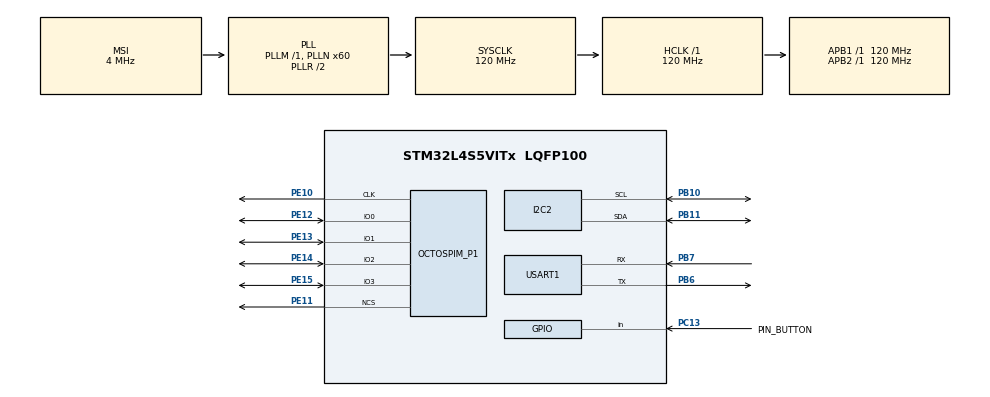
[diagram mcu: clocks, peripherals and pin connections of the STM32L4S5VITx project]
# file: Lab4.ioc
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FREERTOS.Tasks01=button_control,0,128,buttonControl,Default,NULL,Dynamic,NULL,NULL;transmit_data,-3,128,transmitData,Default,NULL,Dynamic,NULL,NULL;read_data,-3,128,readData,Default,NULL,Dynamic,NULL,NULL
I2C2.Timing=0x307075B1
Mcu.Family=STM32L4
Mcu.Name=STM32L4S5VITx
Mcu.Package=LQFP100
NVIC.PriorityGroup=NVIC_PRIORITYGROUP_4
NVIC.TIM6_DAC_IRQn=true\:15\:0\:false\:false\:true\:false\:false\:true\:true
NVIC.TimeBase=TIM6_DAC_IRQn
NVIC.TimeBaseIP=TIM6
PB10.Mode=I2C
PB10.Signal=I2C2_SCL
PB11.Mode=I2C
PB11.Signal=I2C2_SDA
PB3\ (JTDO/TRACESWO).Signal=SYS_JTDO-SWO
PB6.Mode=Asynchronous
PB6.Signal=USART1_TX
PB7.Mode=Asynchronous
PB7.Signal=USART1_RX
PC13.GPIO_Label=PIN_BUTTON
PC13.Signal=GPIO_Input
PE10.Mode=O1_P1_CLK
PE10.Signal=OCTOSPIM_P1_CLK
PE11.Mode=OCTOSPI1_Port1_NCS
PE11.Signal=OCTOSPIM_P1_NCS
PE12.Mode=OCTOSPI1_IOL_Port1L
PE12.Signal=OCTOSPIM_P1_IO0
PE13.Mode=OCTOSPI1_IOL_Port1L
PE13.Signal=OCTOSPIM_P1_IO1
PE14.Mode=OCTOSPI1_IOL_Port1L
PE14.Signal=OCTOSPIM_P1_IO2
PE15.Mode=OCTOSPI1_IOL_Port1L
PE15.Signal=OCTOSPIM_P1_IO3
ProjectManager.HeapSize=0x200
ProjectManager.StackSize=0x400
ProjectManager.TargetToolchain=STM32CubeIDE
RCC.ADCFreq_Value=48000000
RCC.AHBFreq_Value=120000000
RCC.APB1Freq_Value=120000000
RCC.APB1TimFreq_Value=120000000
RCC.APB2Freq_Value=120000000
RCC.APB2TimFreq_Value=120000000
RCC.CortexFreq_Value=120000000
RCC.HCLKFreq_Value=120000000
RCC.HSE_VALUE=8000000
RCC.HSI48_VALUE=48000000
RCC.HSI_VALUE=16000000
RCC.LSE_VALUE=32768
RCC.MSI_VALUE=4000000
RCC.PLLN=60
RCC.PLLSAI1N=24
RCC.SYSCLKFreq_VALUE=120000000
RCC.SYSCLKSource=RCC_SYSCLKSOURCE_PLLCLK
RCC.USBFreq_Value=48000000
RCC.VCOOutputFreq_Value=240000000
USART1.VirtualMode-Asynchronous=VM_ASYNC
VP_FREERTOS_VS_CMSIS_V1.Mode=CMSIS_V1
VP_OCTOSPI1_VS_quad.Mode=quad_mode
VP_SYS_VS_tim6.Mode=TIM6
board=B-L4S5I-IOT01A

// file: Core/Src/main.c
/* USER CODE BEGIN Header */
/**
 ******************************************************************************
 * @file           : main.c
 * @brief          : Main program body
 ******************************************************************************
 * @attention
 *
 * Copyright (c) 2023 STMicroelectronics.
 * All rights reserved.
 *
 * This software is licensed under terms that can be found in the LICENSE file
 * in the root directory of this software component.
 * If no LICENSE file comes with this software, it is provided AS-IS.
 *
 ******************************************************************************
 */
/* USER CODE END Header */
#include "main.h"
#include "cmsis_os.h"

/* USER CODE BEGIN Includes */
#include "stm32l4s5i_iot01_tsensor.h"
#include "stm32l4s5i_iot01_hsensor.h"
#include "stm32l4s5i_iot01_psensor.h"
#include "stm32l4s5i_iot01_accelero.h"
#include "stm32l4s5i_iot01_gyro.h"
#include "stm32l4s5i_iot01_magneto.h"
#include "stm32l4s5i_iot01_qspi.h"

#include "string.h"
#include "stdio.h"

/* USER CODE END Includes */

/* USER CODE BEGIN PD */
#define ITM_Port32(n) (*((volatile unsigned long *) (0xE0000000+4*n)))
/* USER CODE END PD */

I2C_HandleTypeDef hi2c2;

OSPI_HandleTypeDef hospi1;

UART_HandleTypeDef huart1;

osThreadId button_controlHandle;
osThreadId transmit_dataHandle;
osThreadId read_dataHandle;

void SystemClock_Config(void);
static void MX_GPIO_Init(void);
static void MX_USART1_UART_Init(void);
static void MX_I2C2_Init(void);
static void MX_OCTOSPI1_Init(void);
void buttonControl(void const *argument);
void transmitData(void const *argument);
void readData(void const *argument);

/* USER CODE BEGIN PFP */
osMutexId mutex;

/* USER CODE END PFP */

/* USER CODE BEGIN 0 */

int shouldPrint = 0;
int selectedSensor = 0;
int iterT = 0;
int iterH = 0;
int iterP = 0;
int iterA = 0;
int iterG = 0;
int iterM = 0;
float data_to_write[10] = { 0, 0, 0, 0, 0, 0, 0, 0, 0, 0 };
float data_to_writeA[10] = { 0, 0, 0, 0, 0, 0, 0, 0, 0, 0 };
float data_to_writeB[10] = { 0, 0, 0, 0, 0, 0, 0, 0, 0, 0 };
float data_to_writeC[10] = { 0, 0, 0, 0, 0, 0, 0, 0, 0, 0 };

int hold = 0;
float samplesG = 0;
float meanG = 0;
float varianceG = 0;
float samplesGA = 0;
float meanGA = 0;
float varianceGA = 0;
float samplesGB = 0;
float meanGB = 0;
float varianceGB = 0;
float samplesGC = 0;
float meanGC = 0;
float varianceGC = 0;

/* USER CODE END 0 */

int main(void) {

	/* MCU Configuration--------------------------------------------------------*/

	/* Reset of all peripherals, Initializes the Flash interface and the Systick. */
	HAL_Init();

	/* Configure the system clock */
	SystemClock_Config();

	/* Initialize all configured peripherals */
	MX_GPIO_Init();
	MX_USART1_UART_Init();
	MX_I2C2_Init();
	MX_OCTOSPI1_Init();
	/* USER CODE BEGIN 2 */

	BSP_ACCELERO_Init();
	BSP_GYRO_Init();
	BSP_TSENSOR_Init();
	BSP_HSENSOR_Init();
	BSP_MAGNETO_Init();
	BSP_PSENSOR_Init();

	BSP_QSPI_Init();

	uint8_t buffer[100];

	if (BSP_QSPI_Erase_Block(0x20) == QSPI_OK) {
		memset(buffer, 0, sizeof(buffer));
		sprintf(buffer, "Erased memory! \r\n");
		HAL_UART_Transmit(&huart1, (uint8_t*) buffer, strlen(buffer), 300000);
	}

	/* USER CODE END 2 */

	/* USER CODE BEGIN RTOS_MUTEX */
	/* add mutexes, ... */
	osMutexDef(osMutex);
	mutex = osMutexCreate(osMutex(osMutex));

	/* USER CODE END RTOS_MUTEX */

	/* Create the thread(s) */
	/* definition and creation of button_control */
	osThreadDef(button_control, buttonControl, osPriorityHigh, 0, 128);
	button_controlHandle = osThreadCreate(osThread(button_control), NULL);

	/* definition and creation of transmit_data */
	osThreadDef(transmit_data, transmitData, osPriorityNormal, 0, 256);
	transmit_dataHandle = osThreadCreate(osThread(transmit_data), NULL);

	/* definition and creation of read_data */
	osThreadDef(read_data, readData, osPriorityNormal, 0, 256);
	read_dataHandle = osThreadCreate(osThread(read_data), NULL);

	/* Start scheduler */
	osKernelStart();

	/* We should never get here as control is now taken by the scheduler */
	/* Infinite loop */
	while (1) {

	}
}

void SystemClock_Config(void) {
	RCC_OscInitTypeDef RCC_OscInitStruct = { 0 };
	RCC_ClkInitTypeDef RCC_ClkInitStruct = { 0 };

	/** Configure the main internal regulator output voltage
	 */
	if (HAL_PWREx_ControlVoltageScaling(PWR_REGULATOR_VOLTAGE_SCALE1_BOOST)
			!= HAL_OK) {
		Error_Handler();
	}

	/** Initializes the RCC Oscillators according to the specified parameters
	 * in the RCC_OscInitTypeDef structure.
	 */
	RCC_OscInitStruct.OscillatorType = RCC_OSCILLATORTYPE_MSI;
	RCC_OscInitStruct.MSIState = RCC_MSI_ON;
	RCC_OscInitStruct.MSICalibrationValue = 0;
	RCC_OscInitStruct.MSIClockRange = RCC_MSIRANGE_6;
	RCC_OscInitStruct.PLL.PLLState = RCC_PLL_ON;
	RCC_OscInitStruct.PLL.PLLSource = RCC_PLLSOURCE_MSI;
	RCC_OscInitStruct.PLL.PLLM = 1;
	RCC_OscInitStruct.PLL.PLLN = 60;
	RCC_OscInitStruct.PLL.PLLP = RCC_PLLP_DIV2;
	RCC_OscInitStruct.PLL.PLLQ = RCC_PLLQ_DIV2;
	RCC_OscInitStruct.PLL.PLLR = RCC_PLLR_DIV2;
	if (HAL_RCC_OscConfig(&RCC_OscInitStruct) != HAL_OK) {
		Error_Handler();
	}

	/** Initializes the CPU, AHB and APB buses clocks
	 */
	RCC_ClkInitStruct.ClockType = RCC_CLOCKTYPE_HCLK | RCC_CLOCKTYPE_SYSCLK
			| RCC_CLOCKTYPE_PCLK1 | RCC_CLOCKTYPE_PCLK2;
	RCC_ClkInitStruct.SYSCLKSource = RCC_SYSCLKSOURCE_PLLCLK;
	RCC_ClkInitStruct.AHBCLKDivider = RCC_SYSCLK_DIV1;
	RCC_ClkInitStruct.APB1CLKDivider = RCC_HCLK_DIV1;
	RCC_ClkInitStruct.APB2CLKDivider = RCC_HCLK_DIV1;

	if (HAL_RCC_ClockConfig(&RCC_ClkInitStruct, FLASH_LATENCY_5) != HAL_OK) {
		Error_Handler();
	}
}

static void MX_I2C2_Init(void) {

	hi2c2.Instance = I2C2;
	hi2c2.Init.Timing = 0x307075B1;
	hi2c2.Init.OwnAddress1 = 0;
	hi2c2.Init.AddressingMode = I2C_ADDRESSINGMODE_7BIT;
	hi2c2.Init.DualAddressMode = I2C_DUALADDRESS_DISABLE;
	hi2c2.Init.OwnAddress2 = 0;
	hi2c2.Init.OwnAddress2Masks = I2C_OA2_NOMASK;
	hi2c2.Init.GeneralCallMode = I2C_GENERALCALL_DISABLE;
	hi2c2.Init.NoStretchMode = I2C_NOSTRETCH_DISABLE;
	if (HAL_I2C_Init(&hi2c2) != HAL_OK) {
		Error_Handler();
	}

	/** Configure Analogue filter
	 */
	if (HAL_I2CEx_ConfigAnalogFilter(&hi2c2, I2C_ANALOGFILTER_ENABLE)
			!= HAL_OK) {
		Error_Handler();
	}

	/** Configure Digital filter
	 */
	if (HAL_I2CEx_ConfigDigitalFilter(&hi2c2, 0) != HAL_OK) {
		Error_Handler();
	}

}

static void MX_OCTOSPI1_Init(void) {

	OSPIM_CfgTypeDef OSPIM_Cfg_Struct = { 0 };

	/* OCTOSPI1 parameter configuration*/
	hospi1.Instance = OCTOSPI1;
	hospi1.Init.FifoThreshold = 1;
	hospi1.Init.DualQuad = HAL_OSPI_DUALQUAD_DISABLE;
	hospi1.Init.MemoryType = HAL_OSPI_MEMTYPE_MICRON;
	hospi1.Init.DeviceSize = 32;
	hospi1.Init.ChipSelectHighTime = 1;
	hospi1.Init.FreeRunningClock = HAL_OSPI_FREERUNCLK_DISABLE;
	hospi1.Init.ClockMode = HAL_OSPI_CLOCK_MODE_0;
	hospi1.Init.ClockPrescaler = 1;
	hospi1.Init.SampleShifting = HAL_OSPI_SAMPLE_SHIFTING_NONE;
	hospi1.Init.DelayHoldQuarterCycle = HAL_OSPI_DHQC_DISABLE;
	hospi1.Init.ChipSelectBoundary = 0;
	hospi1.Init.DelayBlockBypass = HAL_OSPI_DELAY_BLOCK_BYPASSED;
	if (HAL_OSPI_Init(&hospi1) != HAL_OK) {
		Error_Handler();
	}
	OSPIM_Cfg_Struct.ClkPort = 1;
	OSPIM_Cfg_Struct.NCSPort = 1;
	OSPIM_Cfg_Struct.IOLowPort = HAL_OSPIM_IOPORT_1_LOW;
	if (HAL_OSPIM_Config(&hospi1, &OSPIM_Cfg_Struct,
	HAL_OSPI_TIMEOUT_DEFAULT_VALUE) != HAL_OK) {
		Error_Handler();
	}

}

static void MX_USART1_UART_Init(void) {

	huart1.Instance = USART1;
	huart1.Init.BaudRate = 115200;
	huart1.Init.WordLength = UART_WORDLENGTH_8B;
	huart1.Init.StopBits = UART_STOPBITS_1;
	huart1.Init.Parity = UART_PARITY_NONE;
	huart1.Init.Mode = UART_MODE_TX_RX;
	huart1.Init.HwFlowCtl = UART_HWCONTROL_NONE;
	huart1.Init.OverSampling = UART_OVERSAMPLING_16;
	huart1.Init.OneBitSampling = UART_ONE_BIT_SAMPLE_DISABLE;
	huart1.Init.ClockPrescaler = UART_PRESCALER_DIV1;
	huart1.AdvancedInit.AdvFeatureInit = UART_ADVFEATURE_NO_INIT;
	if (HAL_UART_Init(&huart1) != HAL_OK) {
		Error_Handler();
	}
	if (HAL_UARTEx_SetTxFifoThreshold(&huart1, UART_TXFIFO_THRESHOLD_1_8)
			!= HAL_OK) {
		Error_Handler();
	}
	if (HAL_UARTEx_SetRxFifoThreshold(&huart1, UART_RXFIFO_THRESHOLD_1_8)
			!= HAL_OK) {
		Error_Handler();
	}
	if (HAL_UARTEx_DisableFifoMode(&huart1) != HAL_OK) {
		Error_Handler();
	}

}

static void MX_GPIO_Init(void) {
	GPIO_InitTypeDef GPIO_InitStruct = { 0 };

	/* GPIO Ports Clock Enable */
	__HAL_RCC_GPIOC_CLK_ENABLE();
	__HAL_RCC_GPIOE_CLK_ENABLE();
	__HAL_RCC_GPIOB_CLK_ENABLE();

	/*Configure GPIO pin : PIN_BUTTON_Pin */
	GPIO_InitStruct.Pin = PIN_BUTTON_Pin;
	GPIO_InitStruct.Mode = GPIO_MODE_INPUT;
	GPIO_InitStruct.Pull = GPIO_NOPULL;
	HAL_GPIO_Init(PIN_BUTTON_GPIO_Port, &GPIO_InitStruct);

}

/* USER CODE BEGIN 4 */

void calculate(float *data, float size) {

	samplesG = 0;
	meanG = 0;
	varianceG = 0;

	float sum = 0, mean, variance = 0;

	// Calculate sum of the samples
	for (int i = 0; i < size; ++i) {
		sum += data[i];
	}

	// Calculate mean
	mean = (float) sum / size;

	// Calculate sum of squared differences from the mean
	for (int i = 0; i < size; ++i) {
		int diff = data[i] - mean;
		variance += diff * diff;
	}

	// Finalize variance calculation
	variance /= (size - 1);

	samplesG = 10;
	meanG = mean;
	varianceG = variance;

}

void calculateMulti(float *dataA, float *dataB, float *dataC, float size) {

	samplesGA = 0;
	meanGA = 0;
	varianceGA = 0;

	samplesGB = 0;
	meanGB = 0;
	varianceGB = 0;

	samplesGC = 0;
	meanGC = 0;
	varianceGC = 0;

	float sum = 0;
	float mean, variance = 0;

	// Calculate sum of the samples
	for (int i = 0; i < size; ++i) {
		sum += dataA[i];
	}

	// Calculate mean
	mean = (float) sum / size;

	// Calculate sum of squared differences from the mean
	for (int i = 0; i < size; ++i) {
		float diff = (float) dataA[i] - mean;
		variance += diff * diff;
	}

	// Finalize variance calculation
	variance /= (size - 1);

	samplesGA = 10;
	meanGA = mean;
	varianceGA = variance;

	sum = 0;
	mean = 0;
	variance = 0;

	// Calculate sum of the samples
	for (int i = 0; i < size; ++i) {
		sum += dataB[i];
	}

	// Calculate mean
	mean = (float) sum / size;

	// Calculate sum of squared differences from the mean
	for (int i = 0; i < size; ++i) {
		float diff =(float) dataB[i] - mean;
		variance += diff * diff;
	}

	// Finalize variance calculation
	variance /= (size - 1);

	samplesGB = 10;
	meanGB = mean;
	varianceGB = variance;

	sum = 0;
	mean = 0;
	variance = 0;

	// Calculate sum of the samples
	for (int i = 0; i < size; ++i) {
		sum += dataC[i];
	}

	// Calculate mean
	mean = (float) sum / size;

	// Calculate sum of squared differences from the mean
	for (int i = 0; i < size; ++i) {
		float diff = (float) dataC[i] - mean;
		variance += diff * diff;
	}

	// Finalize variance calculation
	variance /= (size - 1);

	samplesGC = 10;
	meanGC = mean;
	varianceGC = variance;

}

/* USER CODE END 4 */

void buttonControl(void const *argument) {
	/* USER CODE BEGIN 5 */
	/* Infinite loop */
	for (;;) {
		osDelay(100);

		if (HAL_GPIO_ReadPin(PIN_BUTTON_GPIO_Port, PIN_BUTTON_Pin)
				== GPIO_PIN_RESET) {

			osMutexWait(mutex, osWaitForever);

			uint8_t buffer[100];
			memset(buffer, 0, sizeof(buffer));
			sprintf(buffer, "- Button Press \r\n");
			HAL_UART_Transmit(&huart1, buffer, strlen((char*) buffer), HAL_MAX_DELAY);

			selectedSensor = selectedSensor + 1;
			shouldPrint = 1;

			if (selectedSensor > 7) {
				selectedSensor = 0;
				shouldPrint = 0;
			}

			while (HAL_GPIO_ReadPin(PIN_BUTTON_GPIO_Port, PIN_BUTTON_Pin) == GPIO_PIN_RESET) {
				//stall
			}

			osMutexRelease(mutex);

		}

	}
	/* USER CODE END 5 */
}

void transmitData(void const *argument) {
	/* USER CODE BEGIN transmitData */
	/* Infinite loop */
	for (;;) {

		osDelay(100);

		if (shouldPrint == 1) {

			osMutexWait(mutex, osWaitForever);
			float readingFloat;
			float readingsFloat[3];
			int16_t readings16t[3];
			uint8_t buffer[100];

			if (selectedSensor == 1) {

				memset(buffer, 0, sizeof(buffer));
				readingFloat = (float) BSP_TSENSOR_ReadTemp();
				sprintf(buffer, "Temperature: %f \r\n", readingFloat);
				HAL_UART_Transmit(&huart1, buffer, strlen((char*) buffer),
				HAL_MAX_DELAY);

				if (iterT < 10) {
					data_to_write[iterT] = readingFloat;
					iterT++;
				}

				else if (iterT == 10) {
					iterT++;

					if (BSP_QSPI_Write(data_to_write, 0,
							(10 * sizeof(float))) != QSPI_OK) {
						memset(buffer, 0, sizeof(buffer));
						sprintf(buffer, "Error write! \r\n");
						HAL_UART_Transmit(&huart1, buffer,
								strlen((char*) buffer), HAL_MAX_DELAY);
					} else {
						memset(buffer, 0, sizeof(buffer));
						sprintf(buffer, "Full array -> Stored to flash\r\n");
						HAL_UART_Transmit(&huart1, buffer,
								strlen((char*) buffer), HAL_MAX_DELAY);

					}

				}

			} else if (selectedSensor == 2) {
				memset(buffer, 0, sizeof(buffer));
				readingFloat = (float) BSP_HSENSOR_ReadHumidity();
				sprintf(buffer, "Humidity: %f \r\n", readingFloat);
				HAL_UART_Transmit(&huart1, (uint8_t*) buffer,
						strlen((char*) buffer), HAL_MAX_DELAY);

				if (iterH < 10) {
					data_to_write[iterH] = readingFloat;
					iterH++;
				}

				else if (iterH == 10) {
					iterH++;

					if (BSP_QSPI_Write(data_to_write, 10 * sizeof(float) * 1,
							10 * sizeof(float)) != QSPI_OK) {
						memset(buffer, 0, sizeof(buffer));
						sprintf(buffer, "Error write! \r\n");
						HAL_UART_Transmit(&huart1, buffer,
								strlen((char*) buffer), HAL_MAX_DELAY);

					} else {

						memset(buffer, 0, sizeof(buffer));
						sprintf(buffer, "Full array -> Stored to flash\r\n");
						HAL_UART_Transmit(&huart1, buffer,
								strlen((char*) buffer), HAL_MAX_DELAY);

					}

				}

			} else if (selectedSensor == 3) {
				memset(buffer, 0, sizeof(buffer));
				readingFloat = (float) BSP_PSENSOR_ReadPressure();
				sprintf(buffer, "Pressure: %f \r\n", readingFloat);
				HAL_UART_Transmit(&huart1, (uint8_t*) buffer,
						strlen((char*) buffer), HAL_MAX_DELAY);

				if (iterP < 10) {
					data_to_write[iterP] = readingFloat;
					iterP++;
				}

				else if (iterP == 10) {
					iterP++;

					if (BSP_QSPI_Write(data_to_write, 10 * sizeof(float) * 2,
							10 * sizeof(float)) != QSPI_OK) {
						memset(buffer, 0, sizeof(buffer));
						sprintf(buffer, "Error write! \r\n");
						HAL_UART_Transmit(&huart1, buffer,
								strlen((char*) buffer), HAL_MAX_DELAY);
					} else {
						memset(buffer, 0, sizeof(buffer));
						sprintf(buffer, "Full array -> Stored to flash\r\n");
						HAL_UART_Transmit(&huart1, buffer,
								strlen((char*) buffer), HAL_MAX_DELAY);

					}
				}

			} else if (selectedSensor == 4) {
				memset(buffer, 0, sizeof(buffer));
				BSP_ACCELERO_AccGetXYZ(readings16t);
				sprintf(buffer, "Acceleration: X = %d, Y = %d, Z = %d \r\n",
						readings16t[0], readings16t[1], readings16t[2]);
				HAL_UART_Transmit(&huart1, (uint8_t*) buffer,
						strlen((char*) buffer), HAL_MAX_DELAY);

				if (iterA < 10) {
					data_to_writeA[iterA] = readings16t[0];
					data_to_writeB[iterA] = readings16t[1];
					data_to_writeC[iterA] = readings16t[2];
					iterA++;
				}

				else if (iterA == 10) {
					iterA++;

					if (BSP_QSPI_Write(data_to_writeA, 10 * sizeof(float) * 3,
							10 * sizeof(float)) != QSPI_OK) {
						memset(buffer, 0, sizeof(buffer));
						sprintf(buffer, "Error write! \r\n");
						HAL_UART_Transmit(&huart1, buffer,
								strlen((char*) buffer), HAL_MAX_DELAY);
					}

					if (BSP_QSPI_Write(data_to_writeB, 10 * sizeof(float) * 4,
							10 * sizeof(float)) != QSPI_OK) {
						memset(buffer, 0, sizeof(buffer));
						sprintf(buffer, "Error write! \r\n");
						HAL_UART_Transmit(&huart1, buffer,
								strlen((char*) buffer), HAL_MAX_DELAY);
					}

					if (BSP_QSPI_Write(data_to_writeC, 10 * sizeof(float) * 5,
							10 * sizeof(float)) != QSPI_OK) {
						memset(buffer, 0, sizeof(buffer));
						sprintf(buffer, "Error write! \r\n");
						HAL_UART_Transmit(&huart1, buffer,
								strlen((char*) buffer), HAL_MAX_DELAY);
					}

					memset(buffer, 0, sizeof(buffer));
					sprintf(buffer, "Full arrays -> Stored to flash\r\n");
					HAL_UART_Transmit(&huart1, buffer, strlen((char*) buffer),
					HAL_MAX_DELAY);

				}

			} else if (selectedSensor == 5) {
				memset(buffer, 0, sizeof(buffer));
				BSP_GYRO_GetXYZ(readingsFloat);
				sprintf(buffer, "Gyroscope: X = %f, Y = %f, Z = %f \r\n",
						readingsFloat[0], readingsFloat[1], readingsFloat[2]);
				HAL_UART_Transmit(&huart1, (uint8_t*) buffer,
						strlen((char*) buffer), HAL_MAX_DELAY);

				if (iterG < 10) {
					data_to_writeA[iterG] = readingsFloat[0];
					data_to_writeB[iterG] = readingsFloat[1];
					data_to_writeC[iterG] = readingsFloat[2];
					iterG++;
				}

				else if (iterG == 10) {
					iterG++;

					if (BSP_QSPI_Write(data_to_writeA, 10 * sizeof(float) * 6,
							10 * sizeof(float)) != QSPI_OK) {
						memset(buffer, 0, sizeof(buffer));
						sprintf(buffer, "Error write! \r\n");
						HAL_UART_Transmit(&huart1, buffer,
								strlen((char*) buffer), HAL_MAX_DELAY);
					}

					if (BSP_QSPI_Write(data_to_writeB, 10 * sizeof(float) * 7,
							10 * sizeof(float)) != QSPI_OK) {
						memset(buffer, 0, sizeof(buffer));
						sprintf(buffer, "Error write! \r\n");
						HAL_UART_Transmit(&huart1, buffer,
								strlen((char*) buffer), HAL_MAX_DELAY);
					}

					if (BSP_QSPI_Write(data_to_writeC, 10 * sizeof(float) * 8,
							10 * sizeof(float)) != QSPI_OK) {
						memset(buffer, 0, sizeof(buffer));
						sprintf(buffer, "Error write! \r\n");
						HAL_UART_Transmit(&huart1, buffer,
								strlen((char*) buffer), HAL_MAX_DELAY);
					}

					memset(buffer, 0, sizeof(buffer));
					sprintf(buffer, "Full arrays -> Stored to flash\r\n");
					HAL_UART_Transmit(&huart1, buffer, strlen((char*) buffer),
					HAL_MAX_DELAY);

				}

			} else if (selectedSensor == 6) {
				memset(buffer, 0, sizeof(buffer));
				BSP_MAGNETO_GetXYZ(readings16t);
				sprintf(buffer, "Magnetometer: X = %d, Y = %d, Z = %d \r\n",
						readings16t[0], readings16t[1], readings16t[2]);
				HAL_UART_Transmit(&huart1, (uint8_t*) buffer,
						strlen((char*) buffer), HAL_MAX_DELAY);

				if (iterM < 10) {
					data_to_writeA[iterM] = readings16t[0];
					data_to_writeB[iterM] = readings16t[1];
					data_to_writeC[iterM] = readings16t[2];
					iterM++;
				}

				else if (iterM == 10) {
					iterM++;

					if (BSP_QSPI_Write(data_to_writeA, 10 * sizeof(float) * 9,
							10 * sizeof(float)) != QSPI_OK) {
						memset(buffer, 0, sizeof(buffer));
						sprintf(buffer, "Error write! \r\n");
						HAL_UART_Transmit(&huart1, buffer,
								strlen((char*) buffer), HAL_MAX_DELAY);
					}

					if (BSP_QSPI_Write(data_to_writeB, 10 * sizeof(float) * 10,
							10 * sizeof(float)) != QSPI_OK) {
						memset(buffer, 0, sizeof(buffer));
						sprintf(buffer, "Error write! \r\n");
						HAL_UART_Transmit(&huart1, buffer,
								strlen((char*) buffer), HAL_MAX_DELAY);
					}

					if (BSP_QSPI_Write(data_to_writeC, 10 * sizeof(float) * 11,
							10 * sizeof(float)) != QSPI_OK) {
						memset(buffer, 0, sizeof(buffer));
						sprintf(buffer, "Error write! \r\n");
						HAL_UART_Transmit(&huart1, buffer,
								strlen((char*) buffer), HAL_MAX_DELAY);
					}

					memset(buffer, 0, sizeof(buffer));
					sprintf(buffer, "Full arrays -> Stored to flash\r\n");
					HAL_UART_Transmit(&huart1, buffer, strlen((char*) buffer),
					HAL_MAX_DELAY);

				}
			}
			osMutexRelease(mutex);
		}
	}
	/* USER CODE END transmitData */
}

void readData(void const *argument) {
	/* USER CODE BEGIN readData */
	/* Infinite loop */
	for (;;) {
		osDelay(200);

		if (selectedSensor == 7 && hold == 0) {
			osMutexWait(mutex, osWaitForever);

			uint8_t buffer[100];

			memset(buffer, 0, sizeof(buffer));
			sprintf(buffer, " \r\n	| Statistics:  \r\n");
			HAL_UART_Transmit(&huart1, buffer, strlen((char*) buffer),
			HAL_MAX_DELAY);

			memset(data_to_write, 0, sizeof(data_to_write)); // Clear the read buffer
			if (BSP_QSPI_Read(data_to_write, 0, 10 * sizeof(float)) != QSPI_OK) {
				memset(buffer, 0, sizeof(buffer));
				sprintf(buffer, "Error read! \r\n");
				HAL_UART_Transmit(&huart1, buffer, strlen((char*) buffer),
				HAL_MAX_DELAY);
			}

			calculate(data_to_write, 10);

			memset(buffer, 0, sizeof(buffer));
			sprintf(buffer,
					"\r\n	| Stats Temperature: Num Sample: %f Mean: %f Variance %f\r\n",
					samplesG, meanG, varianceG);
			HAL_UART_Transmit(&huart1, (uint8_t*) buffer,
					strlen((char*) buffer), HAL_MAX_DELAY);

			memset(data_to_write, 0, sizeof(data_to_write));
			if (BSP_QSPI_Read(data_to_write, 10 * sizeof(float), 10 * sizeof(float)) != QSPI_OK) {
				memset(buffer, 0, sizeof(buffer));
				sprintf(buffer, "Error read! \r\n");
				HAL_UART_Transmit(&huart1, buffer, strlen((char*) buffer),
				HAL_MAX_DELAY);
			}

			calculate(data_to_write, 10);

			memset(buffer, 0, sizeof(buffer));
			sprintf(buffer,
					"	| Stats Pressure: Num Sample: %f Mean: %f Variance %f\r\n",
					samplesG, meanG, varianceG);
			HAL_UART_Transmit(&huart1, (uint8_t*) buffer,
					strlen((char*) buffer), HAL_MAX_DELAY);

			memset(data_to_write, 0, sizeof(data_to_write));
			if (BSP_QSPI_Read(data_to_write, 10 * sizeof(float) * 2, 10 * sizeof(float)) != QSPI_OK) {
				memset(buffer, 0, sizeof(buffer));
				sprintf(buffer, "Error read! \r\n");
				HAL_UART_Transmit(&huart1, buffer, strlen((char*) buffer),
				HAL_MAX_DELAY);
			}

			calculate(data_to_write, 10);

			memset(buffer, 0, sizeof(buffer));
			sprintf(buffer,
					"	| Stats Humidity: Num Sample: %f Mean: %f Variance %f\r\n",
					samplesG, meanG, varianceG);
			HAL_UART_Transmit(&huart1, (uint8_t*) buffer,
					strlen((char*) buffer), HAL_MAX_DELAY);

			memset(data_to_writeA, 0, sizeof(data_to_writeA));
			memset(data_to_writeB, 0, sizeof(data_to_writeB));
			memset(data_to_writeC, 0, sizeof(data_to_writeC));

			if (BSP_QSPI_Read(data_to_writeA,  10 * sizeof(float) * 3, 10 * sizeof(float)) != QSPI_OK) {
				memset(buffer, 0, sizeof(buffer));
				sprintf(buffer, "Error read! \r\n");
				HAL_UART_Transmit(&huart1, buffer, strlen((char*) buffer),
				HAL_MAX_DELAY);
			}

			if (BSP_QSPI_Read(data_to_writeB,  10 * sizeof(float) * 4, 10 * sizeof(float)) != QSPI_OK) {
				memset(buffer, 0, sizeof(buffer));
				sprintf(buffer, "Error read! \r\n");
				HAL_UART_Transmit(&huart1, buffer, strlen((char*) buffer),
				HAL_MAX_DELAY);
			}

			if (BSP_QSPI_Read(data_to_writeC,  10 * sizeof(float) * 5, 10 * sizeof(float)) != QSPI_OK) {
				memset(buffer, 0, sizeof(buffer));
				sprintf(buffer, "Error read! \r\n");
				HAL_UART_Transmit(&huart1, buffer, strlen((char*) buffer),
				HAL_MAX_DELAY);
			}

			calculateMulti(data_to_writeA, data_to_writeB, data_to_writeC, 10);

			memset(buffer, 0, sizeof(buffer));
			sprintf(buffer,
					" \r\n	| Stats Acc X: Num Sample: %f Mean: %f Variance %f\r\n",
					samplesGA, meanGA, varianceGA);
			HAL_UART_Transmit(&huart1, (uint8_t*) buffer,
					strlen((char*) buffer), HAL_MAX_DELAY);

			memset(buffer, 0, sizeof(buffer));
			sprintf(buffer,
					"	| Stats Acc Y: Num Sample: %f Mean: %f Variance %f\r\n",
					samplesGB, meanGB, varianceGB);
			HAL_UART_Transmit(&huart1, (uint8_t*) buffer,
					strlen((char*) buffer), HAL_MAX_DELAY);

			memset(buffer, 0, sizeof(buffer));
			sprintf(buffer,
					"	| Stats Acc Z: Num Sample: %f Mean: %f Variance %f\r\n",
					samplesGC, meanGC, varianceGC);
			HAL_UART_Transmit(&huart1, (uint8_t*) buffer,
					strlen((char*) buffer), HAL_MAX_DELAY);

			memset(data_to_writeA, 0, sizeof(data_to_writeA));
			memset(data_to_writeB, 0, sizeof(data_to_writeB));
			memset(data_to_writeC, 0, sizeof(data_to_writeC));

			if (BSP_QSPI_Read(data_to_writeA,  10 * sizeof(float) * 6, 10 * sizeof(float)) != QSPI_OK) {
				memset(buffer, 0, sizeof(buffer));
				sprintf(buffer, "Error read! \r\n");
				HAL_UART_Transmit(&huart1, buffer, strlen((char*) buffer),
				HAL_MAX_DELAY);
			}

			if (BSP_QSPI_Read(data_to_writeB,  10 * sizeof(float) * 7, 10 * sizeof(float)) != QSPI_OK) {
				memset(buffer, 0, sizeof(buffer));
				sprintf(buffer, "Error read! \r\n");
				HAL_UART_Transmit(&huart1, buffer, strlen((char*) buffer),
				HAL_MAX_DELAY);
			}

			if (BSP_QSPI_Read(data_to_writeC,  10 * sizeof(float) * 8, 10 * sizeof(float)) != QSPI_OK) {
				memset(buffer, 0, sizeof(buffer));
				sprintf(buffer, "Error read! \r\n");
				HAL_UART_Transmit(&huart1, buffer, strlen((char*) buffer),
				HAL_MAX_DELAY);
			}

			calculateMulti(data_to_writeA, data_to_writeB, data_to_writeC, 10);

			memset(buffer, 0, sizeof(buffer));
			sprintf(buffer,
					" \r\n	| Stats Gyro X: Num Sample: %f Mean: %f Variance %f\r\n",
					samplesGA, meanGA, varianceGA);
			HAL_UART_Transmit(&huart1, (uint8_t*) buffer,
					strlen((char*) buffer), HAL_MAX_DELAY);

			memset(buffer, 0, sizeof(buffer));
			sprintf(buffer,
					"	| Stats Gyro Y: Num Sample: %f Mean: %f Variance %f\r\n",
					samplesGB, meanGB, varianceGB);
			HAL_UART_Transmit(&huart1, (uint8_t*) buffer,
					strlen((char*) buffer), HAL_MAX_DELAY);

			memset(buffer, 0, sizeof(buffer));
			sprintf(buffer,
					"	| Stats Gyro Z: Num Sample: %f Mean: %f Variance %f\r\n",
					samplesGC, meanGC, varianceGC);
			HAL_UART_Transmit(&huart1, (uint8_t*) buffer,
					strlen((char*) buffer), HAL_MAX_DELAY);

			memset(data_to_writeA, 0, sizeof(data_to_writeA));
			memset(data_to_writeB, 0, sizeof(data_to_writeB));
			memset(data_to_writeC, 0, sizeof(data_to_writeC));

			if (BSP_QSPI_Read(data_to_writeA,  10 * sizeof(float) * 9, 10 * sizeof(float)) != QSPI_OK) {
				memset(buffer, 0, sizeof(buffer));
				sprintf(buffer, "Error read! \r\n");
				HAL_UART_Transmit(&huart1, buffer, strlen((char*) buffer),
				HAL_MAX_DELAY);
			}

			if (BSP_QSPI_Read(data_to_writeB,  10 * sizeof(float) * 10, 10 * sizeof(float)) != QSPI_OK) {
				memset(buffer, 0, sizeof(buffer));
				sprintf(buffer, "Error read! \r\n");
				HAL_UART_Transmit(&huart1, buffer, strlen((char*) buffer),
				HAL_MAX_DELAY);
			}

			if (BSP_QSPI_Read(data_to_writeC,  10 * sizeof(float) * 11,  10 * sizeof(float)) != QSPI_OK) {
				memset(buffer, 0, sizeof(buffer));
				sprintf(buffer, "Error read! \r\n");
				HAL_UART_Transmit(&huart1, buffer, strlen((char*) buffer),
				HAL_MAX_DELAY);
			}

			calculateMulti(data_to_writeA, data_to_writeB, data_to_writeC, 10);

			memset(buffer, 0, sizeof(buffer));
			sprintf(buffer,
					" \r\n	| Stats Magn X: Num Sample: %f Mean: %f Variance %f\r\n",
					samplesGA, meanGA, varianceGA);
			HAL_UART_Transmit(&huart1, (uint8_t*) buffer,
					strlen((char*) buffer), HAL_MAX_DELAY);

			memset(buffer, 0, sizeof(buffer));
			sprintf(buffer,
					"	| Stats Magn Y: Num Sample: %f Mean: %f Variance %f\r\n",
					samplesGB, meanGB, varianceGB);
			HAL_UART_Transmit(&huart1, (uint8_t*) buffer,
					strlen((char*) buffer), HAL_MAX_DELAY);

			memset(buffer, 0, sizeof(buffer));
			sprintf(buffer,
					"	| Stats Magn Z: Num Sample: %f Mean: %f Variance %f\r\n",
					samplesGC, meanGC, varianceGC);
			HAL_UART_Transmit(&huart1, (uint8_t*) buffer,
					strlen((char*) buffer), HAL_MAX_DELAY);

			memset(buffer, 0, sizeof(buffer));
			sprintf(buffer, " \r\n	--> Press again to restart \r\n");
			HAL_UART_Transmit(&huart1, (uint8_t*) buffer,
					strlen((char*) buffer), HAL_MAX_DELAY);

			hold = 0;
			shouldPrint = 0;
			selectedSensor = 0;

			iterT = 0;
			iterH = 0;
			iterP = 0;
			iterA = 0;
			iterG = 0;
			iterM = 0;

			if (BSP_QSPI_Erase_Block(0x20) == QSPI_OK) {
					memset(buffer, 0, sizeof(buffer));
					sprintf(buffer, "Erased memory! \r\n");
					HAL_UART_Transmit(&huart1, (uint8_t*) buffer, strlen(buffer), 300000);
			}

			osMutexRelease(mutex);

		}

	}

	/* USER CODE END readData */
}

void HAL_TIM_PeriodElapsedCallback(TIM_HandleTypeDef *htim) {
	if (htim->Instance == TIM6) {
		HAL_IncTick();
	}
}

void Error_Handler(void) {
	/* USER CODE BEGIN Error_Handler_Debug */
	/* User can add his own implementation to report the HAL error return state */
	__disable_irq();

	uint8_t buffer[100];

	memset(buffer, 0, sizeof(buffer));
	sprintf(buffer, "CRITICAL ERROR");
	HAL_UART_Transmit(&huart1, (uint8_t*) buffer, strlen((char*) buffer),
	HAL_MAX_DELAY);

	while (1) {
	}
	/* USER CODE END Error_Handler_Debug */
}
